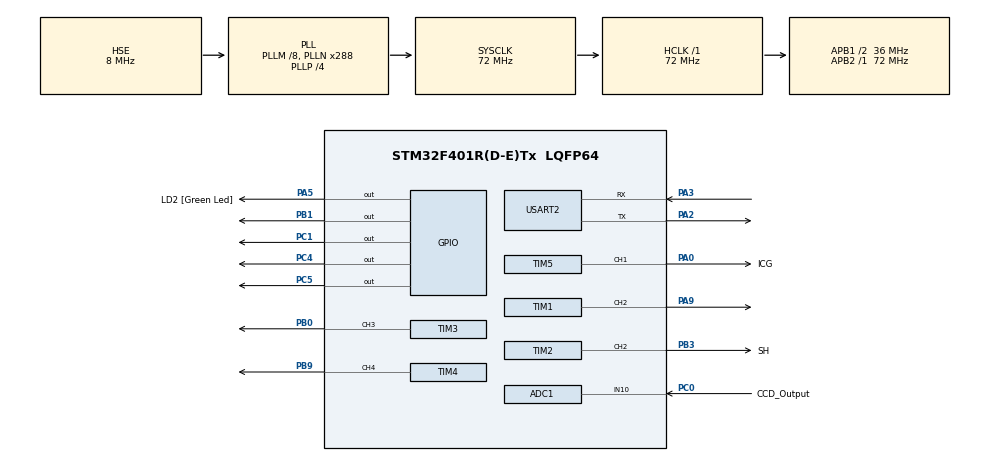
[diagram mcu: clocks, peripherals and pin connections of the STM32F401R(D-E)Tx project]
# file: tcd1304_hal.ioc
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ADC1.Channel-0\#ChannelRegularConversion=ADC_CHANNEL_10
ADC1.DMAContinuousRequests=DISABLE
ADC1.ExternalTrigConv=ADC_EXTERNALTRIGCONV_T4_CC4
ADC1.InjNumberOfConversion=0
ADC1.NbrOfConversionFlag=1
ADC1.Rank-0\#ChannelRegularConversion=1
ADC1.SamplingTime-0\#ChannelRegularConversion=ADC_SAMPLETIME_15CYCLES
ADC1.master=1
Dma.ADC1.2.Direction=DMA_PERIPH_TO_MEMORY
Dma.ADC1.2.FIFOMode=DMA_FIFOMODE_DISABLE
Dma.ADC1.2.Instance=DMA2_Stream0
Dma.ADC1.2.MemDataAlignment=DMA_MDATAALIGN_HALFWORD
Dma.ADC1.2.MemInc=DMA_MINC_ENABLE
Dma.ADC1.2.Mode=DMA_CIRCULAR
Dma.ADC1.2.PeriphDataAlignment=DMA_PDATAALIGN_HALFWORD
Dma.ADC1.2.PeriphInc=DMA_PINC_DISABLE
Dma.ADC1.2.Priority=DMA_PRIORITY_HIGH
Dma.Request0=USART2_TX
Dma.Request1=USART2_RX
Dma.Request2=ADC1
Dma.USART2_RX.1.Direction=DMA_PERIPH_TO_MEMORY
Dma.USART2_RX.1.FIFOMode=DMA_FIFOMODE_DISABLE
Dma.USART2_RX.1.Instance=DMA1_Stream5
Dma.USART2_RX.1.MemDataAlignment=DMA_MDATAALIGN_BYTE
Dma.USART2_RX.1.MemInc=DMA_MINC_ENABLE
Dma.USART2_RX.1.Mode=DMA_CIRCULAR
Dma.USART2_RX.1.PeriphDataAlignment=DMA_PDATAALIGN_BYTE
Dma.USART2_RX.1.PeriphInc=DMA_PINC_DISABLE
Dma.USART2_RX.1.Priority=DMA_PRIORITY_HIGH
Dma.USART2_TX.0.Direction=DMA_MEMORY_TO_PERIPH
Dma.USART2_TX.0.FIFOMode=DMA_FIFOMODE_DISABLE
Dma.USART2_TX.0.Instance=DMA1_Stream6
Dma.USART2_TX.0.MemDataAlignment=DMA_MDATAALIGN_BYTE
Dma.USART2_TX.0.MemInc=DMA_MINC_ENABLE
Dma.USART2_TX.0.Mode=DMA_NORMAL
Dma.USART2_TX.0.PeriphDataAlignment=DMA_PDATAALIGN_BYTE
Dma.USART2_TX.0.PeriphInc=DMA_PINC_DISABLE
Dma.USART2_TX.0.Priority=DMA_PRIORITY_HIGH
Mcu.Family=STM32F4
Mcu.Name=STM32F401R(D-E)Tx
Mcu.Package=LQFP64
NVIC.DMA1_Stream5_IRQn=true\:2\:0\:true\:true\:true\:1\:false\:true
NVIC.DMA1_Stream6_IRQn=true\:0\:0\:false\:false\:true\:false\:true
NVIC.DMA2_Stream0_IRQn=true\:1\:0\:true\:true\:true\:2\:false\:true
NVIC.PriorityGroup=NVIC_PRIORITYGROUP_2
NVIC.TIM5_IRQn=true\:0\:0\:false\:true\:true\:3\:true\:true
NVIC.USART2_IRQn=true\:0\:0\:false\:false\:true\:true\:true
PA0-WKUP.GPIO_Label=ICG
PA0-WKUP.GPIO_PuPd=GPIO_PULLUP
PA0-WKUP.Signal=S_TIM5_CH1
PA2.GPIO_PuPd=GPIO_PULLUP
PA2.GPIO_Speed=GPIO_SPEED_FREQ_MEDIUM
PA2.Mode=Asynchronous
PA2.Signal=USART2_TX
PA3.GPIO_PuPd=GPIO_PULLUP
PA3.GPIO_Speed=GPIO_SPEED_FREQ_MEDIUM
PA3.Mode=Asynchronous
PA3.Signal=USART2_RX
PA5.GPIO_Label=LD2 [Green Led]
PA5.GPIO_PuPd=GPIO_PULLDOWN
PA5.GPIO_Speed=GPIO_SPEED_FREQ_LOW
PA5.PinState=GPIO_PIN_RESET
PA5.Signal=GPIO_Output
PA9.GPIO_PuPd=GPIO_PULLUP
PA9.Signal=S_TIM1_CH2
PB0.GPIO_ModeDefaultPP=GPIO_MODE_AF_PP
PB0.GPIO_PuPd=GPIO_PULLUP
PB0.GPIO_Speed=GPIO_SPEED_FREQ_MEDIUM
PB0.Signal=S_TIM3_CH3
PB1.GPIO_PuPd=GPIO_PULLDOWN
PB1.PinState=GPIO_PIN_RESET
PB1.Signal=GPIO_Output
PB3.GPIO_Label=SH
PB3.GPIO_PuPd=GPIO_PULLUP
PB3.Signal=S_TIM2_CH2
PB9.GPIO_PuPd=GPIO_PULLDOWN
PB9.Signal=S_TIM4_CH4
PC0.GPIO_Label=CCD_Output
PC0.Signal=ADCx_IN10
PC1.GPIO_PuPd=GPIO_PULLDOWN
PC1.PinState=GPIO_PIN_RESET
PC1.Signal=GPIO_Output
PC4.GPIO_PuPd=GPIO_PULLDOWN
PC4.PinState=GPIO_PIN_RESET
PC4.Signal=GPIO_Output
PC5.GPIO_PuPd=GPIO_PULLDOWN
PC5.PinState=GPIO_PIN_RESET
PC5.Signal=GPIO_Output
PH0\ -\ OSC_IN.Mode=HSE-External-Oscillator
PH0\ -\ OSC_IN.Signal=RCC_OSC_IN
PH1\ -\ OSC_OUT.Mode=HSE-External-Oscillator
PH1\ -\ OSC_OUT.Signal=RCC_OSC_OUT
ProjectManager.HeapSize=0x200
ProjectManager.StackSize=0x400
ProjectManager.TargetToolchain=STM32CubeIDE
RCC.48MHZClocksFreq_Value=41142857.14285714
RCC.AHBFreq_Value=72000000
RCC.APB1CLKDivider=RCC_HCLK_DIV2
RCC.APB1Freq_Value=36000000
RCC.APB1TimFreq_Value=72000000
RCC.APB2Freq_Value=72000000
RCC.APB2TimFreq_Value=72000000
RCC.CortexFreq_Value=72000000
RCC.HCLKFreq_Value=72000000
RCC.HSE_VALUE=8000000
RCC.HSI_VALUE=16000000
RCC.LSE_VALUE=32768
RCC.PLLM=8
RCC.PLLN=288
RCC.PLLP=RCC_PLLP_DIV4
RCC.PLLQ=7
RCC.PLLSourceVirtual=RCC_PLLSOURCE_HSE
RCC.SYSCLKFreq_VALUE=72000000
RCC.SYSCLKSource=RCC_SYSCLKSOURCE_PLLCLK
RCC.VCOOutputFreq_Value=288000000
SH.ADCx_IN10.0=ADC1_IN10,IN10
SH.S_TIM1_CH2.0=TIM1_CH2,PWM Generation2 CH2
SH.S_TIM2_CH2.0=TIM2_CH2,PWM Generation2 CH2
SH.S_TIM3_CH3.0=TIM3_CH3,PWM Generation3 CH3
SH.S_TIM4_CH4.0=TIM4_CH4,PWM Generation4 CH4
SH.S_TIM5_CH1.0=TIM5_CH1,PWM Generation1 CH1
TIM1.Channel-PWM\ Generation2\ CH2=TIM_CHANNEL_2
TIM1.OCPolarity_2=TIM_OCPOLARITY_LOW
TIM1.Period=SH_period - 1
TIM1.Prescaler=apb1_freq / CCD_fm - 1
TIM1.Pulse-PWM\ Generation2\ CH2=(2 * CCD_fm) / 1000000
TIM2.AutoReloadPreload=TIM_AUTORELOAD_PRELOAD_ENABLE
TIM2.Channel-PWM\ Generation2\ CH2=TIM_CHANNEL_2
TIM2.OCPolarity_2=TIM_OCPOLARITY_LOW
TIM2.Period=SH_period - 1
TIM2.Prescaler=apb1_freq / CCD_fm - 1
TIM2.Pulse-PWM\ Generation2\ CH2=(2 * CCD_fm) / 1000000
TIM3.AutoReloadPreload=TIM_AUTORELOAD_PRELOAD_ENABLE
TIM3.Channel-PWM\ Generation3\ CH3=TIM_CHANNEL_3
TIM3.OCPolarity_3=TIM_OCPOLARITY_LOW
TIM3.Period=apb1_freq / CCD_fm - 1
TIM3.Prescaler=1 - 1
TIM3.Pulse-PWM\ Generation3\ CH3=apb1_freq / (2*CCD_fm)
TIM3.TIM_MasterOutputTrigger=TIM_TRGO_RESET
TIM4.AutoReloadPreload=TIM_AUTORELOAD_PRELOAD_ENABLE
TIM4.Channel-PWM\ Generation4\ CH4=TIM_CHANNEL_4
TIM4.Period=4 * apb1_freq / CCD_fm - 1
TIM4.Prescaler=1 - 1
TIM4.Pulse-PWM\ Generation4\ CH4=apb1_freq / (2 * CCD_fm)
TIM4.TIM_MasterOutputTrigger=TIM_TRGO_RESET
TIM5.AutoReloadPreload=TIM_AUTORELOAD_PRELOAD_ENABLE
TIM5.Channel-PWM\ Generation1\ CH1=TIM_CHANNEL_1
TIM5.Period=ICG_period - 1
TIM5.Prescaler=apb1_freq / CCD_fm - 1
TIM5.Pulse-PWM\ Generation1\ CH1=(5 * CCD_fm) / 1000000
TIM5.TIM_MasterOutputTrigger=TIM_TRGO_RESET
USART2.OverSampling=UART_OVERSAMPLING_8
USART2.VirtualMode=VM_ASYNC
board=NUCLEO-F401RE

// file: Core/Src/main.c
/* USER CODE BEGIN Header */
/**
  ******************************************************************************
  * @file           : main.c
  * @brief          : Main program body
  ******************************************************************************
  * @attention
  *
  * <h2><center>&copy; Copyright (c) 2020 STMicroelectronics.
  * All rights reserved.</center></h2>
  *
  * This software component is licensed by ST under BSD 3-Clause license,
  * the "License"; You may not use this file except in compliance with the
  * License. You may obtain a copy of the License at:
  *                        opensource.org/licenses/BSD-3-Clause
  *
  ******************************************************************************
  */
/* USER CODE END Header */
#include "main.h"

ADC_HandleTypeDef hadc1;
DMA_HandleTypeDef hdma_adc1;

TIM_HandleTypeDef htim1;
TIM_HandleTypeDef htim2;
TIM_HandleTypeDef htim3;
TIM_HandleTypeDef htim4;
TIM_HandleTypeDef htim5;

UART_HandleTypeDef huart2;
DMA_HandleTypeDef hdma_usart2_tx;
DMA_HandleTypeDef hdma_usart2_rx;

/* USER CODE BEGIN PV */
__IO uint32_t SH_period = 200;
__IO uint32_t ICG_period = 100000;
__IO uint8_t TB[TxDataSize];
__IO uint16_t aTxBuffer[CCDSize];
__IO uint16_t avgBuffer[CCDSize] = {0};
__IO uint8_t aRxBuffer[RxDataSize] = {0};
__IO uint8_t nRxBuffer[RxDataSize] = {0};

__IO uint8_t change_exposure_flag = 0;
__IO uint8_t data_flag = 0;
__IO uint8_t pulse_counter = 0;
__IO uint8_t CCD_flushed = 0;
__IO uint8_t avg_exps = 0;
__IO uint8_t exps_left = 0;
__IO uint8_t coll_mode = 0;

int apb1_freq;
int start_flag = 0;

/* USER CODE END PV */

void SystemClock_Config(void);
static void MX_GPIO_Init(void);
static void MX_DMA_Init(void);
static void MX_USART2_UART_Init(void);
static void MX_ADC1_Init(void);
static void MX_TIM2_Init(void);
static void MX_TIM3_Init(void);
static void MX_TIM5_Init(void);
static void MX_TIM4_Init(void);
static void MX_TIM1_Init(void);
static void MX_NVIC_Init(void);
/* USER CODE BEGIN PFP */

void flush_CCD(void);
void sort_aRxBuffer();
void get_Timer_clocks(void);

/* USER CODE END PFP */

int main(void)
{
  /* USER CODE BEGIN 1 */

	int i = 0;

  /* USER CODE END 1 */

  /* MCU Configuration--------------------------------------------------------*/

  /* Reset of all peripherals, Initializes the Flash interface and the Systick. */
  HAL_Init();

  /* Configure the system clock */
  SystemClock_Config();

  /* USER CODE BEGIN SysInit */
  get_Timer_clocks();

  //GPIO, TIM3, 4,
  ///HAL_Init, uart, dma
  /* USER CODE END SysInit */

  /* Initialize all configured peripherals */
  MX_GPIO_Init();
  MX_DMA_Init();
  MX_USART2_UART_Init();
  MX_ADC1_Init();
  MX_TIM2_Init();
  MX_TIM3_Init();
  MX_TIM5_Init();
  MX_TIM4_Init();
  MX_TIM1_Init();

  /* Initialize interrupts */
  MX_NVIC_Init();
  /* USER CODE BEGIN 2 */

  	HAL_TIM_PWM_Start(&htim1, TIM_CHANNEL_2);
	HAL_TIM_PWM_Start(&htim3, TIM_CHANNEL_3);
	HAL_TIM_PWM_Start(&htim4, TIM_CHANNEL_4);
	HAL_TIM_PWM_Start_IT(&htim5, TIM_CHANNEL_1);

  /*	Set counters close to expiration, as the integration times may be very long.
  	(For example: with an ICG-period of 300s we'd have to wait 600s for two ICG-
   	pulses if we don't cut the first one short.)
  	The SH-period is slightly delayed to comply with the CCD's timing requirements. */
	//TIM2->CNT = SH_period - SH_delay;// + (SH_period % 2);
	TIM1->CNT = SH_period - SH_delay;
	TIM5->CNT = ICG_period - ICG_delay;
	TIM3->CNT = fm_delay;

  /* USER CODE END 2 */

  /* Infinite loop */
  /* USER CODE BEGIN WHILE */

/* The firmware expects 12 bytes from the computer and will not do anything until 12 bytes have been received.
 The format is:
 byte[1-2]: The characters E and R. Defines where the firmware should start reading in its circular input-buffer.
 byte[3-6]: The 4 bytes constituting the 32-bit int holding the SH-period
 byte[7-10]: The 4 bytes constituting the 32-bit int holding the ICG-period
 byte[11]: Continuous flag: 0 equals one acquisition, 1 equals continuous mode
 byte[12]: The number of integrations to average
*/
	aRxBuffer[0] = 69;
	aRxBuffer[1] = 82;
	aRxBuffer[2] = (SH_period >> 24) & 0xff;
	aRxBuffer[3] = (SH_period >> 16) & 0xff;
	aRxBuffer[4] = (SH_period >> 8) & 0xff;
	aRxBuffer[5] = SH_period & 0xff;
	aRxBuffer[6] = (ICG_period >> 24) & 0xff;
	aRxBuffer[7] = (ICG_period >> 16) & 0xff;
	aRxBuffer[8] = (ICG_period >> 8) & 0xff;
	aRxBuffer[9] = ICG_period & 0xff;
	aRxBuffer[10] = 0;
	aRxBuffer[11] = 1;

	HAL_UART_Receive_DMA(&huart2, aRxBuffer, RxDataSize*sizeof(uint8_t));

	GPIOA->ODR ^= GPIO_PIN_5;

  while (1)
  {

    /* USER CODE END WHILE */

    /* USER CODE BEGIN 3 */

	if (change_exposure_flag == 1)
	{
		/* reset flag */
		change_exposure_flag = 0;

		flush_CCD();

		/* set new integration time */
		ICG_period = nRxBuffer[6]<<24|nRxBuffer[7]<<16|nRxBuffer[8]<<8|nRxBuffer[9];
		SH_period = nRxBuffer[2]<<24|nRxBuffer[3]<<16|nRxBuffer[4]<<8|nRxBuffer[5];

		/*	Disable ICG (TIM5) and SH (TIM2) before reconfiguring*/
		HAL_TIM_PWM_Stop(&htim1, TIM_CHANNEL_2);
		HAL_TIM_PWM_Stop_IT(&htim5, TIM_CHANNEL_1);

		/* 	Reconfigure TIM2 and TIM5 */
		MX_TIM1_Init();
		MX_TIM5_Init();

		//HAL_TIM_PWM_Start(&htim2, TIM_CHANNEL_2);
		HAL_TIM_PWM_Start(&htim1, TIM_CHANNEL_2);
		HAL_TIM_PWM_Start_IT(&htim5, TIM_CHANNEL_1);

		//TIM2->CNT = SH_period - SH_delay;// + (SH_period % 2);
		TIM1->CNT = SH_period - SH_delay;// + (SH_period % 2);
		TIM5->CNT = ICG_period - ICG_delay;
		TIM3->CNT = fm_delay;
	}

	switch (data_flag){
	case 1:
		/* reset flags */
		data_flag = 0;
		if (coll_mode == 1)
			pulse_counter=6;

		/* Transmit data in aTxBuffer */
		HAL_UART_Transmit_DMA(&huart2, aTxBuffer, CCDSize*sizeof(uint16_t));
		break;

	case 2:
		/* reset flags */
		data_flag = 0;

		/* This is the first integration of several so overwrite avgBuffer */
		for (i=0; i<CCDSize; i++)
			avgBuffer[i] = aTxBuffer[i];
		break;

	case 3:
		/* reset flags */
		data_flag = 0;

		/* Add new to previous integrations.
		   This loop takes 3-4ms to complete. */
		for (i=0; i<CCDSize; i++)
			avgBuffer[i] = avgBuffer[i] + aTxBuffer[i];
		break;

	case 4:
		/* reset flags */
		data_flag = 0;

		/* Add new to previous integrations.
		   This loop takes 3-4ms to complete. */
		for (i=0; i<CCDSize; i++)
			avgBuffer[i] = avgBuffer[i] + aTxBuffer[i];

		/* Store average values in aTxBuffer */
		for (i=0; i<CCDSize; i++)
			aTxBuffer[i] = avgBuffer[i]/avg_exps;

		if (coll_mode == 1){
			exps_left = avg_exps;
			pulse_counter=6;
		}

		/* Transmit data in aTxBuffer */
		HAL_UART_Transmit_DMA(&huart2, aTxBuffer, CCDSize*sizeof(uint16_t));
		break;
	}
  }
  /* USER CODE END 3 */
}

void SystemClock_Config(void)
{
  RCC_OscInitTypeDef RCC_OscInitStruct = {0};
  RCC_ClkInitTypeDef RCC_ClkInitStruct = {0};

  /** Configure the main internal regulator output voltage
  */
  __HAL_RCC_PWR_CLK_ENABLE();
  __HAL_PWR_VOLTAGESCALING_CONFIG(PWR_REGULATOR_VOLTAGE_SCALE2);
  /** Initializes the RCC Oscillators according to the specified parameters
  * in the RCC_OscInitTypeDef structure.
  */
  RCC_OscInitStruct.OscillatorType = RCC_OSCILLATORTYPE_HSE;
  RCC_OscInitStruct.HSEState = RCC_HSE_ON;
  RCC_OscInitStruct.PLL.PLLState = RCC_PLL_ON;
  RCC_OscInitStruct.PLL.PLLSource = RCC_PLLSOURCE_HSE;
  RCC_OscInitStruct.PLL.PLLM = 8;
  RCC_OscInitStruct.PLL.PLLN = 288;
  RCC_OscInitStruct.PLL.PLLP = RCC_PLLP_DIV4;
  RCC_OscInitStruct.PLL.PLLQ = 7;
  if (HAL_RCC_OscConfig(&RCC_OscInitStruct) != HAL_OK)
  {
    Error_Handler();
  }
  /** Initializes the CPU, AHB and APB buses clocks
  */
  RCC_ClkInitStruct.ClockType = RCC_CLOCKTYPE_HCLK|RCC_CLOCKTYPE_SYSCLK
                              |RCC_CLOCKTYPE_PCLK1|RCC_CLOCKTYPE_PCLK2;
  RCC_ClkInitStruct.SYSCLKSource = RCC_SYSCLKSOURCE_PLLCLK;
  RCC_ClkInitStruct.AHBCLKDivider = RCC_SYSCLK_DIV1;
  RCC_ClkInitStruct.APB1CLKDivider = RCC_HCLK_DIV2;
  RCC_ClkInitStruct.APB2CLKDivider = RCC_HCLK_DIV1;

  if (HAL_RCC_ClockConfig(&RCC_ClkInitStruct, FLASH_LATENCY_2) != HAL_OK)
  {
    Error_Handler();
  }
}

/**
  * @brief NVIC Configuration.
  * @retval None
  */
static void MX_NVIC_Init(void)
{
  /* DMA1_Stream5_IRQn interrupt configuration */
  HAL_NVIC_SetPriority(DMA1_Stream5_IRQn, 2, 0);
  HAL_NVIC_EnableIRQ(DMA1_Stream5_IRQn);
  /* DMA2_Stream0_IRQn interrupt configuration */
  HAL_NVIC_SetPriority(DMA2_Stream0_IRQn, 1, 0);
  HAL_NVIC_EnableIRQ(DMA2_Stream0_IRQn);
  /* TIM5_IRQn interrupt configuration */
  HAL_NVIC_SetPriority(TIM5_IRQn, 0, 0);
  HAL_NVIC_EnableIRQ(TIM5_IRQn);
}

static void MX_ADC1_Init(void)
{

  ADC_ChannelConfTypeDef sConfig = {0};

  /** Configure the global features of the ADC (Clock, Resolution, Data Alignment and number of conversion)
  */
  hadc1.Instance = ADC1;
  hadc1.Init.ClockPrescaler = ADC_CLOCK_SYNC_PCLK_DIV2;
  hadc1.Init.Resolution = ADC_RESOLUTION_12B;
  hadc1.Init.ScanConvMode = DISABLE;
  hadc1.Init.ContinuousConvMode = DISABLE;
  hadc1.Init.DiscontinuousConvMode = DISABLE;
  hadc1.Init.ExternalTrigConvEdge = ADC_EXTERNALTRIGCONVEDGE_RISING;
  hadc1.Init.ExternalTrigConv = ADC_EXTERNALTRIGCONV_T4_CC4;
  hadc1.Init.DataAlign = ADC_DATAALIGN_RIGHT;
  hadc1.Init.NbrOfConversion = 1;
  hadc1.Init.DMAContinuousRequests = DISABLE;
  hadc1.Init.EOCSelection = ADC_EOC_SINGLE_CONV;
  if (HAL_ADC_Init(&hadc1) != HAL_OK)
  {
    Error_Handler();
  }
  /** Configure for the selected ADC regular channel its corresponding rank in the sequencer and its sample time.
  */
  sConfig.Channel = ADC_CHANNEL_10;
  sConfig.Rank = 1;
  sConfig.SamplingTime = ADC_SAMPLETIME_15CYCLES;
  if (HAL_ADC_ConfigChannel(&hadc1, &sConfig) != HAL_OK)
  {
    Error_Handler();
  }
  /* USER CODE BEGIN ADC1_Init 2 */
  //ADC1->CR2 &= (uint32_t)(ADC_CR2_DDS);
  //ADC1->CR2 |= (uint32_t)ADC_CR2_DMA;
  //ADC1->CR2 |= (uint32_t)ADC_CR2_ADON;

  /* USER CODE END ADC1_Init 2 */

}

static void MX_TIM1_Init(void)
{

  TIM_MasterConfigTypeDef sMasterConfig = {0};
  TIM_OC_InitTypeDef sConfigOC = {0};
  TIM_BreakDeadTimeConfigTypeDef sBreakDeadTimeConfig = {0};

  htim1.Instance = TIM1;
  htim1.Init.Prescaler = apb1_freq / CCD_fm - 1;
  htim1.Init.CounterMode = TIM_COUNTERMODE_UP;
  htim1.Init.Period = SH_period - 1;
  htim1.Init.ClockDivision = TIM_CLOCKDIVISION_DIV1;
  htim1.Init.RepetitionCounter = 0;
  htim1.Init.AutoReloadPreload = TIM_AUTORELOAD_PRELOAD_DISABLE;
  if (HAL_TIM_PWM_Init(&htim1) != HAL_OK)
  {
    Error_Handler();
  }
  sMasterConfig.MasterOutputTrigger = TIM_TRGO_RESET;
  sMasterConfig.MasterSlaveMode = TIM_MASTERSLAVEMODE_DISABLE;
  if (HAL_TIMEx_MasterConfigSynchronization(&htim1, &sMasterConfig) != HAL_OK)
  {
    Error_Handler();
  }
  sConfigOC.OCMode = TIM_OCMODE_PWM1;
  sConfigOC.Pulse = (2 * CCD_fm) / 1000000;
  sConfigOC.OCPolarity = TIM_OCPOLARITY_LOW;
  sConfigOC.OCNPolarity = TIM_OCNPOLARITY_HIGH;
  sConfigOC.OCFastMode = TIM_OCFAST_DISABLE;
  sConfigOC.OCIdleState = TIM_OCIDLESTATE_RESET;
  sConfigOC.OCNIdleState = TIM_OCNIDLESTATE_RESET;
  if (HAL_TIM_PWM_ConfigChannel(&htim1, &sConfigOC, TIM_CHANNEL_2) != HAL_OK)
  {
    Error_Handler();
  }
  sBreakDeadTimeConfig.OffStateRunMode = TIM_OSSR_DISABLE;
  sBreakDeadTimeConfig.OffStateIDLEMode = TIM_OSSI_DISABLE;
  sBreakDeadTimeConfig.LockLevel = TIM_LOCKLEVEL_OFF;
  sBreakDeadTimeConfig.DeadTime = 0;
  sBreakDeadTimeConfig.BreakState = TIM_BREAK_DISABLE;
  sBreakDeadTimeConfig.BreakPolarity = TIM_BREAKPOLARITY_HIGH;
  sBreakDeadTimeConfig.AutomaticOutput = TIM_AUTOMATICOUTPUT_DISABLE;
  if (HAL_TIMEx_ConfigBreakDeadTime(&htim1, &sBreakDeadTimeConfig) != HAL_OK)
  {
    Error_Handler();
  }
  HAL_TIM_MspPostInit(&htim1);

}

static void MX_TIM2_Init(void)
{

  TIM_MasterConfigTypeDef sMasterConfig = {0};
  TIM_OC_InitTypeDef sConfigOC = {0};

  htim2.Instance = TIM2;
  htim2.Init.Prescaler = apb1_freq / CCD_fm - 1;
  htim2.Init.CounterMode = TIM_COUNTERMODE_UP;
  htim2.Init.Period = SH_period - 1;
  htim2.Init.ClockDivision = TIM_CLOCKDIVISION_DIV1;
  htim2.Init.AutoReloadPreload = TIM_AUTORELOAD_PRELOAD_ENABLE;
  if (HAL_TIM_PWM_Init(&htim2) != HAL_OK)
  {
    Error_Handler();
  }
  sMasterConfig.MasterOutputTrigger = TIM_TRGO_RESET;
  sMasterConfig.MasterSlaveMode = TIM_MASTERSLAVEMODE_DISABLE;
  if (HAL_TIMEx_MasterConfigSynchronization(&htim2, &sMasterConfig) != HAL_OK)
  {
    Error_Handler();
  }
  sConfigOC.OCMode = TIM_OCMODE_PWM1;
  sConfigOC.Pulse = (2 * CCD_fm) / 1000000;
  sConfigOC.OCPolarity = TIM_OCPOLARITY_LOW;
  sConfigOC.OCFastMode = TIM_OCFAST_DISABLE;
  if (HAL_TIM_PWM_ConfigChannel(&htim2, &sConfigOC, TIM_CHANNEL_2) != HAL_OK)
  {
    Error_Handler();
  }
  HAL_TIM_MspPostInit(&htim2);

}

static void MX_TIM3_Init(void)
{

  TIM_MasterConfigTypeDef sMasterConfig = {0};
  TIM_OC_InitTypeDef sConfigOC = {0};

  htim3.Instance = TIM3;
  htim3.Init.Prescaler = 1 - 1;
  htim3.Init.CounterMode = TIM_COUNTERMODE_UP;
  htim3.Init.Period = apb1_freq / CCD_fm - 1;
  htim3.Init.ClockDivision = TIM_CLOCKDIVISION_DIV1;
  htim3.Init.AutoReloadPreload = TIM_AUTORELOAD_PRELOAD_ENABLE;
  if (HAL_TIM_PWM_Init(&htim3) != HAL_OK)
  {
    Error_Handler();
  }
  sMasterConfig.MasterOutputTrigger = TIM_TRGO_RESET;
  sMasterConfig.MasterSlaveMode = TIM_MASTERSLAVEMODE_DISABLE;
  if (HAL_TIMEx_MasterConfigSynchronization(&htim3, &sMasterConfig) != HAL_OK)
  {
    Error_Handler();
  }
  sConfigOC.OCMode = TIM_OCMODE_PWM1;
  sConfigOC.Pulse = apb1_freq / (2*CCD_fm);
  sConfigOC.OCPolarity = TIM_OCPOLARITY_LOW;
  sConfigOC.OCFastMode = TIM_OCFAST_DISABLE;
  if (HAL_TIM_PWM_ConfigChannel(&htim3, &sConfigOC, TIM_CHANNEL_3) != HAL_OK)
  {
    Error_Handler();
  }
  HAL_TIM_MspPostInit(&htim3);

}

static void MX_TIM4_Init(void)
{

  TIM_MasterConfigTypeDef sMasterConfig = {0};
  TIM_OC_InitTypeDef sConfigOC = {0};

  htim4.Instance = TIM4;
  htim4.Init.Prescaler = 1 - 1;
  htim4.Init.CounterMode = TIM_COUNTERMODE_UP;
  htim4.Init.Period = 4 * apb1_freq / CCD_fm - 1;
  htim4.Init.ClockDivision = TIM_CLOCKDIVISION_DIV1;
  htim4.Init.AutoReloadPreload = TIM_AUTORELOAD_PRELOAD_ENABLE;
  if (HAL_TIM_PWM_Init(&htim4) != HAL_OK)
  {
    Error_Handler();
  }
  sMasterConfig.MasterOutputTrigger = TIM_TRGO_RESET;
  sMasterConfig.MasterSlaveMode = TIM_MASTERSLAVEMODE_DISABLE;
  if (HAL_TIMEx_MasterConfigSynchronization(&htim4, &sMasterConfig) != HAL_OK)
  {
    Error_Handler();
  }
  sConfigOC.OCMode = TIM_OCMODE_PWM1;
  sConfigOC.Pulse = apb1_freq / (2 * CCD_fm);
  sConfigOC.OCPolarity = TIM_OCPOLARITY_HIGH;
  sConfigOC.OCFastMode = TIM_OCFAST_DISABLE;
  if (HAL_TIM_PWM_ConfigChannel(&htim4, &sConfigOC, TIM_CHANNEL_4) != HAL_OK)
  {
    Error_Handler();
  }
  HAL_TIM_MspPostInit(&htim4);

}

static void MX_TIM5_Init(void)
{

  TIM_MasterConfigTypeDef sMasterConfig = {0};
  TIM_OC_InitTypeDef sConfigOC = {0};

  htim5.Instance = TIM5;
  htim5.Init.Prescaler = apb1_freq / CCD_fm - 1;
  htim5.Init.CounterMode = TIM_COUNTERMODE_UP;
  htim5.Init.Period = ICG_period - 1;
  htim5.Init.ClockDivision = TIM_CLOCKDIVISION_DIV1;
  htim5.Init.AutoReloadPreload = TIM_AUTORELOAD_PRELOAD_ENABLE;
  if (HAL_TIM_PWM_Init(&htim5) != HAL_OK)
  {
    Error_Handler();
  }
  sMasterConfig.MasterOutputTrigger = TIM_TRGO_RESET;
  sMasterConfig.MasterSlaveMode = TIM_MASTERSLAVEMODE_DISABLE;
  if (HAL_TIMEx_MasterConfigSynchronization(&htim5, &sMasterConfig) != HAL_OK)
  {
    Error_Handler();
  }
  sConfigOC.OCMode = TIM_OCMODE_PWM1;
  sConfigOC.Pulse = (5 * CCD_fm) / 1000000;
  sConfigOC.OCPolarity = TIM_OCPOLARITY_HIGH;
  sConfigOC.OCFastMode = TIM_OCFAST_DISABLE;
  if (HAL_TIM_PWM_ConfigChannel(&htim5, &sConfigOC, TIM_CHANNEL_1) != HAL_OK)
  {
    Error_Handler();
  }
  HAL_TIM_MspPostInit(&htim5);

}

static void MX_USART2_UART_Init(void)
{

  huart2.Instance = USART2;
  huart2.Init.BaudRate = 115200;
  huart2.Init.WordLength = UART_WORDLENGTH_8B;
  huart2.Init.StopBits = UART_STOPBITS_1;
  huart2.Init.Parity = UART_PARITY_NONE;
  huart2.Init.Mode = UART_MODE_TX_RX;
  huart2.Init.HwFlowCtl = UART_HWCONTROL_NONE;
  huart2.Init.OverSampling = UART_OVERSAMPLING_8;
  if (HAL_UART_Init(&huart2) != HAL_OK)
  {
    Error_Handler();
  }

}

static void MX_DMA_Init(void)
{

  /* DMA controller clock enable */
  __HAL_RCC_DMA1_CLK_ENABLE();
  __HAL_RCC_DMA2_CLK_ENABLE();

  /* DMA interrupt init */
  /* DMA1_Stream6_IRQn interrupt configuration */
  HAL_NVIC_SetPriority(DMA1_Stream6_IRQn, 0, 0);
  HAL_NVIC_EnableIRQ(DMA1_Stream6_IRQn);

}

static void MX_GPIO_Init(void)
{
  GPIO_InitTypeDef GPIO_InitStruct = {0};

  /* GPIO Ports Clock Enable */
  __HAL_RCC_GPIOH_CLK_ENABLE();
  __HAL_RCC_GPIOC_CLK_ENABLE();
  __HAL_RCC_GPIOA_CLK_ENABLE();
  __HAL_RCC_GPIOB_CLK_ENABLE();

  /*Configure GPIO pin Output Level */
  HAL_GPIO_WritePin(GPIOC, GPIO_PIN_1|GPIO_PIN_4|GPIO_PIN_5, GPIO_PIN_RESET);

  /*Configure GPIO pin Output Level */
  HAL_GPIO_WritePin(LD2_GPIO_Port, LD2_Pin, GPIO_PIN_RESET);

  /*Configure GPIO pin Output Level */
  HAL_GPIO_WritePin(GPIOB, GPIO_PIN_1, GPIO_PIN_RESET);

  /*Configure GPIO pins : PC1 PC4 PC5 */
  GPIO_InitStruct.Pin = GPIO_PIN_1|GPIO_PIN_4|GPIO_PIN_5;
  GPIO_InitStruct.Mode = GPIO_MODE_OUTPUT_PP;
  GPIO_InitStruct.Pull = GPIO_PULLDOWN;
  GPIO_InitStruct.Speed = GPIO_SPEED_FREQ_LOW;
  HAL_GPIO_Init(GPIOC, &GPIO_InitStruct);

  /*Configure GPIO pin : LD2_Pin */
  GPIO_InitStruct.Pin = LD2_Pin;
  GPIO_InitStruct.Mode = GPIO_MODE_OUTPUT_PP;
  GPIO_InitStruct.Pull = GPIO_PULLDOWN;
  GPIO_InitStruct.Speed = GPIO_SPEED_FREQ_LOW;
  HAL_GPIO_Init(LD2_GPIO_Port, &GPIO_InitStruct);

  /*Configure GPIO pin : PB1 */
  GPIO_InitStruct.Pin = GPIO_PIN_1;
  GPIO_InitStruct.Mode = GPIO_MODE_OUTPUT_PP;
  GPIO_InitStruct.Pull = GPIO_PULLDOWN;
  GPIO_InitStruct.Speed = GPIO_SPEED_FREQ_LOW;
  HAL_GPIO_Init(GPIOB, &GPIO_InitStruct);

}

/* USER CODE BEGIN 4 */

void HAL_TIM_PeriodElapsedCallback(TIM_HandleTypeDef *htim)
{

}

void get_Timer_clocks(void)
{
	/* Get the apb-prescalers */
	int apb1 = (RCC->CFGR & RCC_CFGR_PPRE1) >> 10;

	/* APBx prescaler table */
	int apb2x[8] = {1,0,0,0,2,4,8,16};

	/* Calculate the timer clocks */
	apb1_freq = SystemCoreClock / (apb2x[apb1]*(apb2x[apb1]==1) + apb2x[apb1]/2*(apb2x[apb1]!=1));
}

void flush_CCD(void)
{
	/* Set exposure very low */
	ICG_period = 15000;
	SH_period = 20;

	/*	Disable ICG (TIM5) and SH (TIM2) before reconfiguring*/
	HAL_TIM_PWM_Stop(&htim1, TIM_CHANNEL_2);
	HAL_TIM_PWM_Stop(&htim5, TIM_CHANNEL_1);

	/*	Reset flags and counters */
	CCD_flushed = 0;
	pulse_counter = 0;

	/* 	Reconfigure TIM2 and TIM5 */
	MX_TIM1_Init();
	MX_TIM5_Init();
	HAL_TIM_PWM_Start(&htim1, TIM_CHANNEL_2);
	HAL_TIM_PWM_Start_IT(&htim5, TIM_CHANNEL_1);

	TIM1->CNT = SH_period - SH_delay;
	TIM5->CNT = ICG_period - ICG_delay;
	TIM3->CNT = fm_delay;

	/*	Block until CCD is properly flushed */
	while(CCD_flushed == 0);
}

void HAL_UART_RxCpltCallback(UART_HandleTypeDef *huart)
{
	/* Wait a short while - to let DMA finish ..or something */
	HAL_Delay(50);

	sort_aRxBuffer();

	if ((nRxBuffer[0]==69)&&(nRxBuffer[1]==82))
	{
		/* reset the key */
		nRxBuffer[0] = 0;
		nRxBuffer[1] = 0;

		/* set flags for main-loop */
		change_exposure_flag = 1;
		data_flag = 0;

		/* disable averaging by default */
		avg_exps = 1;

		/* continous or one-shot mode? */
		coll_mode = nRxBuffer[10];

		/* check if user averaging-request is valid */
		if ((nRxBuffer[11]<16)&&(nRxBuffer[11]>0))
			avg_exps = nRxBuffer[11];

		exps_left = avg_exps;
	}

	if (start_flag == 0) {
		if (HAL_ADC_Start_DMA(&hadc1, aTxBuffer, CCDSize*sizeof(uint16_t)) == HAL_OK) {
			GPIOA->ODR ^= GPIO_PIN_5;
		}
	}
	//HAL_UART_Transmit_DMA(&huart2, aTxBuffer, 2*CCDSize);
}

void HAL_ADC_ConvCpltCallback(ADC_HandleTypeDef* hadc)
{

}

void sort_aRxBuffer()
{
	int shift = -1;
	int i = 0;

	/* Examine for byte-shifts in aRxBuffer */
	for (i = 0; i < RxDataSize; i++)
	{
		if ((aRxBuffer[i]==69)&&(aRxBuffer[i+1]==82))
			shift = i;
	}
	if ((aRxBuffer[RxDataSize-1]==69)&&(aRxBuffer[0]==82))
			shift = RxDataSize-1;

	/* If necessary permutate data */
	if (shift != -1){
		for (i = 0; i < RxDataSize - shift; i++)
			nRxBuffer[i] = aRxBuffer[shift+i];
		for (i = 0; i < shift; i++)
			nRxBuffer[RxDataSize-shift+i] = aRxBuffer[i];
	}

	/* Clear aRxBuffer */
	for (i = 0; i < RxDataSize; i++)
	{
		aRxBuffer[i] = 0;
	}

}

/* USER CODE END 4 */

void Error_Handler(void)
{
}

/************************ (C) COPYRIGHT STMicroelectronics *****END OF FILE****/
